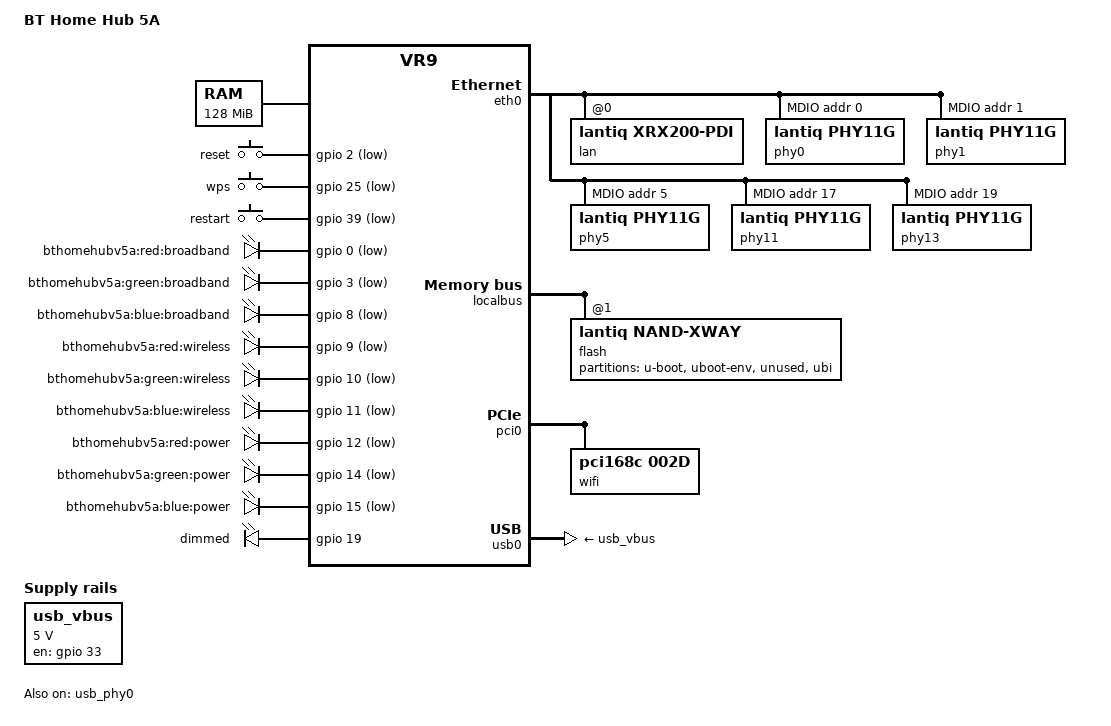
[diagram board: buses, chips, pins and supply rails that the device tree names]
/dts-v1/;

#include "vr9.dtsi"

#include <dt-bindings/input/input.h>
#include <dt-bindings/mips/lantiq_rcu_gphy.h>

/ {
	compatible = "bt,homehub-v5a", "lantiq,xway", "lantiq,vr9";
	model = "BT Home Hub 5A";

	chosen {
		bootargs = "console=ttyLTQ0,115200";
	};

	aliases {
		led-boot = &power_green;
		led-failsafe = &power_red;
		led-running = &power_blue;
		led-upgrade = &power_blue;

		led-dsl = &broadband_blue;
		led-wifi = &wireless_blue;
	};

	memory@0 {
		device_type = "memory";
		reg = <0x0 0x8000000>;
	};

	keys {
		compatible = "gpio-keys-polled";
		poll-interval = <100>;

		reset {
			label = "reset";
			gpios = <&gpio 2 GPIO_ACTIVE_LOW>;
			linux,code = <KEY_RESTART>;
		};

		wps {
			label = "wps";
			gpios = <&gpio 25 GPIO_ACTIVE_LOW>;
			linux,code = <KEY_WPS_BUTTON>;
		};

		restart {
			label = "restart";
			gpios = <&gpio 39 GPIO_ACTIVE_LOW>;
			linux,code = <KEY_POWER2>;
		};
	};

	leds {
		compatible = "gpio-leds";

		/* broadband-* is a single RGB led */
		broadband-red {
			label = "bthomehubv5a:red:broadband";
			gpios = <&gpio 0 GPIO_ACTIVE_LOW>;
		};
		broadband-green {
			label = "bthomehubv5a:green:broadband";
			gpios = <&gpio 3 GPIO_ACTIVE_LOW>;
		};
		broadband_blue: broadband-blue {
			label = "bthomehubv5a:blue:broadband";
			gpios = <&gpio 8 GPIO_ACTIVE_LOW>;
		};

		/* wireless-* is a single RGB led */
		wireless-red {
			label = "bthomehubv5a:red:wireless";
			gpios = <&gpio 9 GPIO_ACTIVE_LOW>;
		};
		wireless-green {
			label = "bthomehubv5a:green:wireless";
			gpios = <&gpio 10 GPIO_ACTIVE_LOW>;
		};
		wireless_blue: wireless-blue {
			label = "bthomehubv5a:blue:wireless";
			gpios = <&gpio 11 GPIO_ACTIVE_LOW>;
		};

		/* power-* is a single RGB led */
		power_red: power-red {
			label = "bthomehubv5a:red:power";
			gpios = <&gpio 12 GPIO_ACTIVE_LOW>;
		};
		power_green: power-green {
			label = "bthomehubv5a:green:power";
			gpios = <&gpio 14 GPIO_ACTIVE_LOW>;
			default-state = "keep";
		};
		power_blue: power-blue {
			label = "bthomehubv5a:blue:power";
			gpios = <&gpio 15 GPIO_ACTIVE_LOW>;
		};

		dimmed {
			label = "dimmed";
			gpios = <&gpio 19 GPIO_ACTIVE_HIGH>;
		};
	};

	usb_vbus: regulator-usb-vbus {
		compatible = "regulator-fixed";

		regulator-name = "USB_VBUS";

		regulator-min-microvolt = <5000000>;
		regulator-max-microvolt = <5000000>;

		gpio = <&gpio 33 GPIO_ACTIVE_HIGH>;
		enable-active-high;
	};
};

&eth0 {
	lan: interface@0 {
		compatible = "lantiq,xrx200-pdi";
		#address-cells = <1>;
		#size-cells = <0>;
		reg = <0>;
		lantiq,switch;

		ethernet@0 {
			compatible = "lantiq,xrx200-pdi-port";
			reg = <0>;
			phy-mode = "rgmii";
			phy-handle = <&phy0>;
		};
		ethernet@1 {
			compatible = "lantiq,xrx200-pdi-port";
			reg = <1>;
			phy-mode = "rgmii";
			phy-handle = <&phy1>;
		};
		ethernet@2 {
			compatible = "lantiq,xrx200-pdi-port";
			reg = <2>;
			phy-mode = "gmii";
			phy-handle = <&phy11>;
		};
		ethernet@4 {
			compatible = "lantiq,xrx200-pdi-port";
			reg = <4>;
			phy-mode = "gmii";
			phy-handle = <&phy13>;
		};
		ethernet@5 {
			compatible = "lantiq,xrx200-pdi-port";
			reg = <5>;
			phy-mode = "rgmii";
			phy-handle = <&phy5>;
		};
	};

	mdio {
		#address-cells = <1>;
		#size-cells = <0>;
		compatible = "lantiq,xrx200-mdio";

		phy0: ethernet-phy@0 {
			reg = <0x0>;
			compatible = "lantiq,phy11g", "ethernet-phy-ieee802.3-c22";
		};
		phy1: ethernet-phy@1 {
			reg = <0x1>;
			compatible = "lantiq,phy11g", "ethernet-phy-ieee802.3-c22";
		};
		phy5: ethernet-phy@5 {
			reg = <0x5>;
			compatible = "lantiq,phy11g", "ethernet-phy-ieee802.3-c22";
		};
		phy11: ethernet-phy@11 {
			reg = <0x11>;
			compatible = "lantiq,phy11g", "ethernet-phy-ieee802.3-c22";
		};
		phy13: ethernet-phy@13 {
			reg = <0x13>;
			compatible = "lantiq,phy11g", "ethernet-phy-ieee802.3-c22";
		};
	};
};

&gphy0 {
	lantiq,gphy-mode = <GPHY_MODE_GE>;
};

&gphy1 {
	lantiq,gphy-mode = <GPHY_MODE_GE>;
};

&gpio {
	pinctrl-names = "default";
	pinctrl-0 = <&state_default>;

	state_default: pinmux {
		pci_rst {
			lantiq,pins = "io21";
			lantiq,output = <1>;
			lantiq,open-drain;
		};
		pcie_rst {
			lantiq,pins = "io38";
			lantiq,pull = <0>;
			lantiq,output = <1>;
			lantiq,open-drain;
		};
		usb_vbus {
			lantiq,pins = "io33";
			lantiq,pull = <0>;
			lantiq,open-drain = <0>;
			lantiq,output = <1>;
		};
	};
};

&localbus {
	flash@1 {
		compatible = "lantiq,nand-xway";
		lantiq,cs = <1>;
		bank-width = <2>;
		reg = <0x1 0x0 0x2000000>;

		pinctrl-0 = <&nand_pins>, <&nand_cs1_pins>;
		pinctrl-names = "default";

		nand-on-flash-bbt;
		nand-ecc-strength = <3>;
		nand-ecc-step-size = <256>;

		partitions {
			compatible = "fixed-partitions";
			#address-cells = <1>;
			#size-cells = <1>;

			partition@0 {
				label = "u-boot";
				reg = <0x0 0xa0000>;
				read-only;
			};
			partition@a0000 {
				label = "uboot-env";
				reg = <0xa0000 0x20000>;
				read-only;
			};
			partition@c0000 {
				label = "unused";
				reg = <0xc0000 0x40000>;
			};
			partition@100000 {
				label = "ubi";
				reg = <0x100000 0x7e80000>;
			};
			/*
			 * last 512 KiB are for the bad block table, not writable
			 */
		};
	};
};

&pci0 {
	status = "okay";
	gpio-reset = <&gpio 21 GPIO_ACTIVE_HIGH>;

	wifi@168c,002d {
		compatible = "pci168c,002d";
		reg = <0x7000 0 0 0 0>;
		qca,no-eeprom; /* load from ath9k-eeprom-pci-0000:00:0e.0.bin */
		qca,disable-5ghz;
	};
};

&usb_phy0 {
	status = "okay";
};

&usb0 {
	status = "okay";
	vbus-supply = <&usb_vbus>;
};
